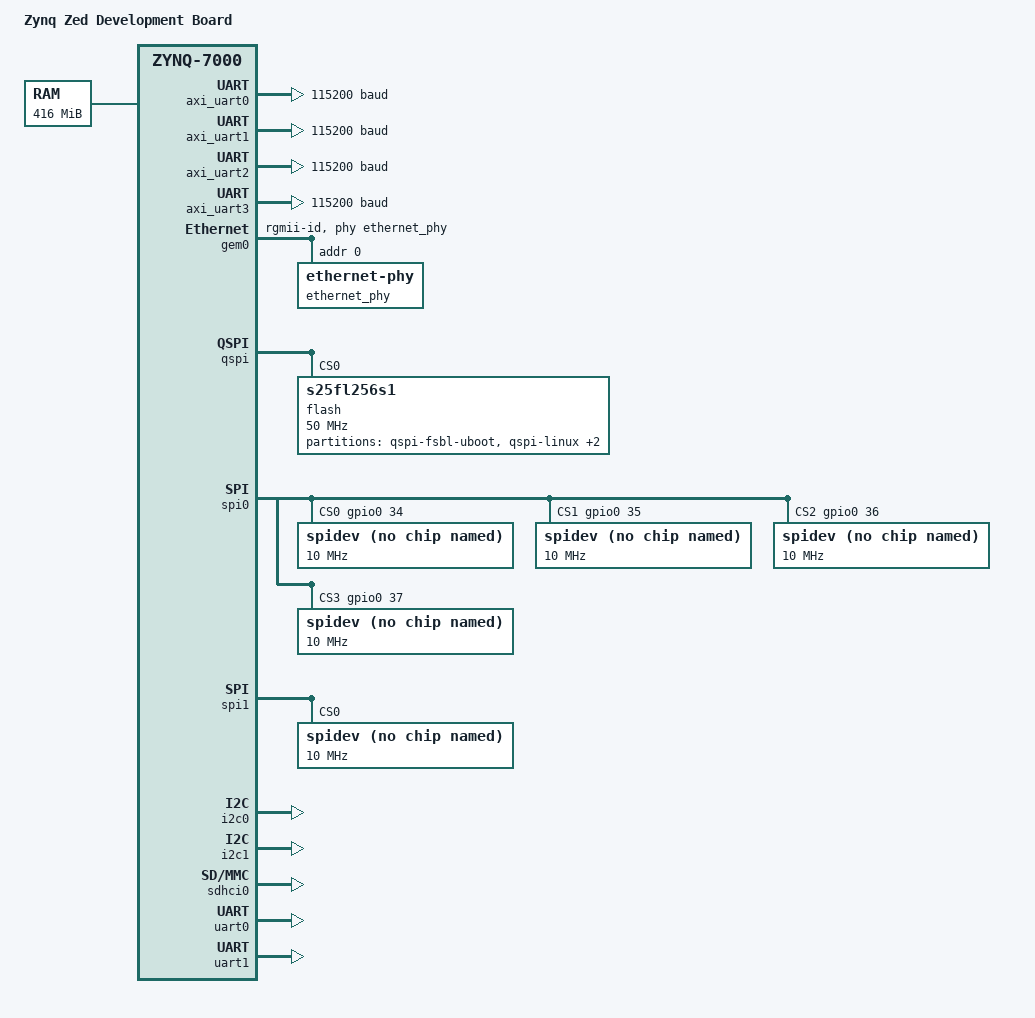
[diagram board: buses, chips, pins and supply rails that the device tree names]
/*
 *  Copyright (C) 2011 - 2014 Xilinx
 *  Copyright (C) 2012 National Instruments Corp.
 *
 * This software is licensed under the terms of the GNU General Public
 * License version 2, as published by the Free Software Foundation, and
 * may be copied, distributed, and modified under those terms.
 *
 * This program is distributed in the hope that it will be useful,
 * but WITHOUT ANY WARRANTY; without even the implied warranty of
 * MERCHANTABILITY or FITNESS FOR A PARTICULAR PURPOSE.  See the
 * GNU General Public License for more details.
 */
/dts-v1/;
/include/ "zynq-7000.dtsi"

/ {
	model = "Zynq Zed Development Board";
	compatible = "xlnx,zynq-zed", "xlnx,zynq-7000";

	aliases {
		ethernet0 = &gem0;
		serial0 = &uart0;
		serial1 = &uart1;
		spi0 = &spi0;
		spi1 = &spi1;
		spi2 = &qspi;
		mmc0 = &sdhci0;
	};

	memory@0 {
		device_type = "memory";
		reg = <0x0 0x1A000000>;
	};

	chosen {
		bootargs = "";
		stdout-path = "serial1:115200n8";
	};

	usb_phy0: phy0@e0002000 {
		compatible = "ulpi-phy";
		#phy-cells = <0>;
		reg = <0xe0002000 0x1000>;
		view-port = <0x0170>;
		drv-vbus;
	};

    axi_uart0: serial@43c00000{
        current-speed = <115200>;
        clock-frequency = <100000000>;
        compatible="ns16550a";
        interrupt-parent = <&intc>;
        interrupts = < 0 29 4>; //interrupt id -32
        reg = < 0x43c00000 0xffff >;
        reg-offset = <0x1000>;
        reg-shift = <2>;
        xlnx,family = "zynq";
        xlnx,has-external-rclk = <0x0>;
        xlnx,has-external-xin = <0x0>;
        xlnx,is-a-16550 = <0x1>;
        xlnx,s-axi-aclk-freq-hz = <0x5f5e100>;
        xlnx,use-modem-ports = <0x0>;
        xlnx,use-user-ports = <0x0>;
        xlnx,instance = "axi_uart16550_0";
    };

    axi_uart1: serial@43c10000{
        current-speed = <115200>;
        clock-frequency = <100000000>;
        compatible="ns16550a";
        interrupt-parent = <&intc>;
        interrupts = < 0 30 4>; //interrupt id -32
        reg = < 0x43c10000 0xffff >;
        reg-offset = <0x1000>;
        reg-shift = <2>;
        xlnx,family = "zynq";
        xlnx,has-external-rclk = <0x0>;
        xlnx,has-external-xin = <0x0>;
        xlnx,is-a-16550 = <0x1>;
        xlnx,s-axi-aclk-freq-hz = <0x5f5e100>;
        xlnx,use-modem-ports = <0x0>;
        xlnx,use-user-ports = <0x0>;
        xlnx,instance = "axi_uart16550_1";
    };

    axi_uart2: serial@43c20000{
        current-speed = <115200>;
        clock-frequency = <100000000>;
        compatible="ns16550a";
        interrupt-parent = <&intc>;
        interrupts = < 0 31 4>; //interrupt id -32
        reg = < 0x43c20000 0xffff >;
        reg-offset = <0x1000>;
        reg-shift = <2>;
        xlnx,family = "zynq";
        xlnx,has-external-rclk = <0x0>;
        xlnx,has-external-xin = <0x0>;
        xlnx,is-a-16550 = <0x1>;
        xlnx,s-axi-aclk-freq-hz = <0x5f5e100>;
        xlnx,use-modem-ports = <0x0>;
        xlnx,use-user-ports = <0x0>;
        xlnx,instance = "axi_uart16550_2";
    };

    axi_uart3: serial@43c30000{
        current-speed = <115200>;
        clock-frequency = <100000000>;
        compatible="ns16550a";
        interrupt-parent = <&intc>;
        interrupts = < 0 32 4>; //interrupt id -32
        reg = < 0x43c30000 0xffff >;
        reg-offset = <0x1000>;
        reg-shift = <2>;
        xlnx,family = "zynq";
        xlnx,has-external-rclk = <0x0>;
        xlnx,has-external-xin = <0x0>;
        xlnx,is-a-16550 = <0x1>;
        xlnx,s-axi-aclk-freq-hz = <0x5f5e100>;
        xlnx,use-modem-ports = <0x0>;
        xlnx,use-user-ports = <0x0>;
        xlnx,instance = "axi_uart16550_3";
    };

    axi_timer_0: timer@42800000 {
		clock-frequency = <100000000>;
		#pwm-cells = <2>;
		clocks = <&clkc 15>;
		compatible = "xlnx,pwm-xlnx";
		reg = <0x42800000 0x10000>;
		xlnx,count-width = <0x20>;
		xlnx,gen0-assert = <0x1>;
		xlnx,gen1-assert = <0x1>;
		xlnx,one-timer-only = <0x0>;
		xlnx,trig0-assert = <0x1>;
		xlnx,trig1-assert = <0x1>;
	} ;

    axi_timer_1: timer@42810000 {
		clock-frequency = <100000000>;
		#pwm-cells = <2>;
		clocks = <&clkc 15>;
		compatible = "xlnx,pwm-xlnx";
		reg = <0x42810000 0x10000>;
		xlnx,count-width = <0x20>;
		xlnx,gen0-assert = <0x1>;
		xlnx,gen1-assert = <0x1>;
		xlnx,one-timer-only = <0x0>;
		xlnx,trig0-assert = <0x1>;
		xlnx,trig1-assert = <0x1>;
	} ;

    axi_timer_2: timer@42820000 {
		clock-frequency = <100000000>;
		#pwm-cells = <2>;
		clocks = <&clkc 15>;
		compatible = "xlnx,pwm-xlnx";
		reg = <0x42820000 0x10000>;
		xlnx,count-width = <0x20>;
		xlnx,gen0-assert = <0x1>;
		xlnx,gen1-assert = <0x1>;
		xlnx,one-timer-only = <0x0>;
		xlnx,trig0-assert = <0x1>;
		xlnx,trig1-assert = <0x1>;
	} ;

    axi_timer_3: timer@42830000 {
		clock-frequency = <100000000>;
		#pwm-cells = <2>;
		clocks = <&clkc 15>;
		compatible = "xlnx,pwm-xlnx";
		reg = <0x42830000 0x10000>;
		xlnx,count-width = <0x20>;
		xlnx,gen0-assert = <0x1>;
		xlnx,gen1-assert = <0x1>;
		xlnx,one-timer-only = <0x0>;
		xlnx,trig0-assert = <0x1>;
		xlnx,trig1-assert = <0x1>;
	} ;

    axi_timer_4: timer@42840000 {
		clock-frequency = <100000000>;
		#pwm-cells = <2>;
		clocks = <&clkc 15>;
		compatible = "xlnx,pwm-xlnx";
		reg = <0x42840000 0x10000>;
		xlnx,count-width = <0x20>;
		xlnx,gen0-assert = <0x1>;
		xlnx,gen1-assert = <0x1>;
		xlnx,one-timer-only = <0x0>;
		xlnx,trig0-assert = <0x1>;
		xlnx,trig1-assert = <0x1>;
	} ;

    axi_timer_5: timer@42850000 {
		clock-frequency = <100000000>;
		#pwm-cells = <2>;
		clocks = <&clkc 15>;
		compatible = "xlnx,pwm-xlnx";
		reg = <0x42850000 0x10000>;
		xlnx,count-width = <0x20>;
		xlnx,gen0-assert = <0x1>;
		xlnx,gen1-assert = <0x1>;
		xlnx,one-timer-only = <0x0>;
		xlnx,trig0-assert = <0x1>;
		xlnx,trig1-assert = <0x1>;
	} ;

    axi_timer_6: timer@42860000 {
		clock-frequency = <100000000>;
		#pwm-cells = <2>;
		clocks = <&clkc 15>;
		compatible = "xlnx,pwm-xlnx";
		reg = <0x42860000 0x10000>;
		xlnx,count-width = <0x20>;
		xlnx,gen0-assert = <0x1>;
		xlnx,gen1-assert = <0x1>;
		xlnx,one-timer-only = <0x0>;
		xlnx,trig0-assert = <0x1>;
		xlnx,trig1-assert = <0x1>;
	} ;

    axi_timer_7: timer@42870000 {
		clock-frequency = <100000000>;
		#pwm-cells = <2>;
		clocks = <&clkc 15>;
		compatible = "xlnx,pwm-xlnx";
		reg = <0x42870000 0x10000>;
		xlnx,count-width = <0x20>;
		xlnx,gen0-assert = <0x1>;
		xlnx,gen1-assert = <0x1>;
		xlnx,one-timer-only = <0x0>;
		xlnx,trig0-assert = <0x1>;
		xlnx,trig1-assert = <0x1>;
	} ;

};

&clkc {
	ps-clk-frequency = <33333333>;
};

&gem0 {
	status = "okay";
	phy-mode = "rgmii-id";
	phy-handle = <&ethernet_phy>;

	ethernet_phy: ethernet-phy@0 {
		reg = <0>;
		device_type = "ethernet-phy";
	};
};

&qspi {
	u-boot,dm-pre-reloc;
	status = "okay";
	is-dual = <0>;
	num-cs = <1>;
	flash@0 {
		compatible = "s25fl256s1";
		reg = <0x0>;
		spi-tx-bus-width = <1>;
		spi-rx-bus-width = <4>;
		spi-max-frequency = <50000000>;
		#address-cells = <1>;
		#size-cells = <1>;
		partition@qspi-fsbl-uboot {
			label = "qspi-fsbl-uboot";
			reg = <0x0 0x100000>;/*1M*/
		};
		partition@qspi-linux {
			label = "qspi-linux";
			reg = <0x100000 0x500000>;/*5M*/
		};
		partition@qspi-device-tree {
			label = "qspi-device-tree";
			reg = <0x600000 0x20000>;/*128k*/
		};
		partition@qspi-rootfs {
			label = "qspi-rootfs";
			reg = <0x620000 0x15E0000>;/*21.8M*/
		};
        /*reserve 4M*/
	};
};

&spi0{
	u-boot,dm-pre-reloc;
	status = "okay";
    num-cs = <4>;
    is-decoded-cs = <0>;
    cs-gpios = <&gpio0 34 0>, <&gpio0 35 0>, <&gpio0 36 0>, <&gpio0 37 0>;
    spidev@0{
        compatible = "spidev";    
        spi-max-frequency = <10000000>;
        reg = <0>;
    };
    spidev@1{
        compatible = "spidev";    
        spi-max-frequency = <10000000>;
        reg = <1>;
    };
    spidev@2{
        compatible = "spidev";    
        spi-max-frequency = <10000000>;
        reg = <2>;
    };
    spidev@3{
        compatible = "spidev";    
        spi-max-frequency = <10000000>;
        reg = <3>;
    };
};

&spi1{
	u-boot,dm-pre-reloc;
	status = "okay";
    spidev@0{
        compatible = "spidev";    
        spi-max-frequency = <10000000>;
        reg = <0>;
    };
};


&i2c0 {
	u-boot,dm-pre-reloc;
	status = "okay";
};

&i2c1 {
	u-boot,dm-pre-reloc;
	status = "okay";
};

&sdhci0 {
	u-boot,dm-pre-reloc;
	status = "okay";
};

&uart0 {
	u-boot,dm-pre-reloc;
	status = "okay";
};

&uart1 {
	u-boot,dm-pre-reloc;
	status = "okay";
};

/*
&usb0 {
	status = "okay";
	dr_mode = "host";
	usb-phy = <&usb_phy0>;
};
*/
